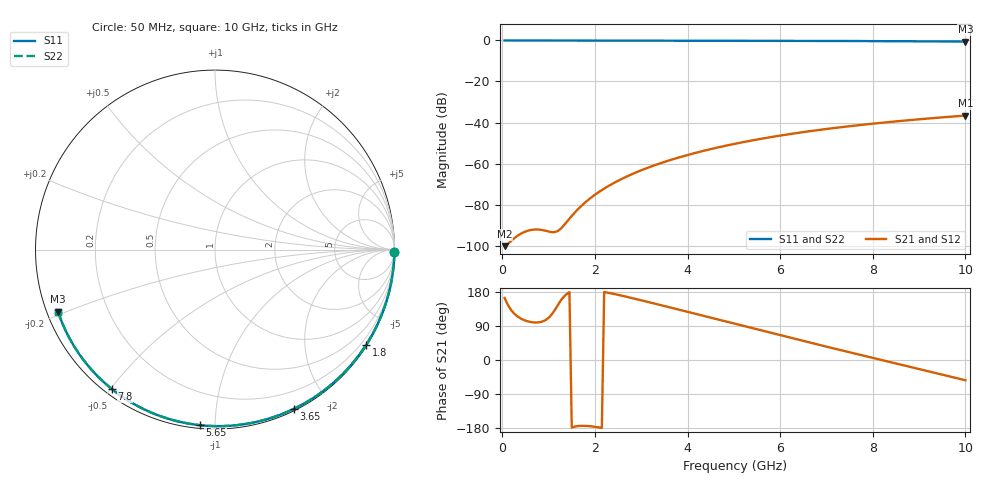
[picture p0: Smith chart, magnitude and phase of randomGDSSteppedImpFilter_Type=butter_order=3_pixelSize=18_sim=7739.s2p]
! freq	dB(S11)	phase(S11)	dB(S12)	phase(S12)
!  dB(S21)	phase(S21)	dB(S22)	phase(S22)
!S-par simulation data
#  GHz  S  DB  R 50
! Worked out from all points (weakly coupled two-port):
!   200 points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, 50 MHz to 10 GHz, reference 50 ohm
!   highest |S21| = -36.62 dB at 10 GHz (marker M1); lowest = -100.3 dB at 50 MHz (marker M2)
!   lowest |S11| = -0.5 dB at 10 GHz (marker M3), VSWR 32.61, Z = 1.59 - j9.49 ohm
!   |S11| at or under -10 dB: nowhere
!   |S22| runs from -0.5 to 0.0 dB; largest |S21 - S12| = 0
!   S11 on the Smith chart (normalised r, x): 50 MHz: open; 1.8 GHz: 0.03, -3.46; 3.65 GHz: 0.02, -1.61; 5.65 GHz: 0.02, -0.92; 7.8 GHz: 0.02, -0.50; 10 GHz: 0.03, -0.19
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0.05  -0.00 -0.9  -100.25 163.7  -100.25 163.7  -0.00 -0.9
0.45  -0.01 -8.2  -93.61 106.4  -93.61 106.4  -0.01 -8.2
0.85  -0.02 -15.4  -92.33 101.0  -92.33 101.0  -0.02 -15.4
1.7  -0.04 -30.5  -80.78 -173.7  -80.78 -173.7  -0.04 -30.5
1.75  -0.04 -31.4  -79.74 -173.7  -79.74 -173.7  -0.04 -31.4
1.8  -0.04 -32.2  -78.74 -173.8  -78.74 -173.8  -0.04 -32.2
1.95  -0.04 -34.8  -76.03 -175.5  -76.03 -175.5  -0.04 -34.8
2.1  -0.05 -37.5  -73.63 -178.2  -73.63 -178.2  -0.05 -37.5
2.3  -0.05 -40.9  -70.83 177.2  -70.83 177.2  -0.05 -40.9
2.5  -0.06 -44.3  -68.37 172.0  -68.37 172.0  -0.06 -44.3
2.9  -0.07 -51.1  -64.19 160.6  -64.19 160.6  -0.07 -51.1
3.4  -0.08 -59.5  -59.95 145.5  -59.95 145.5  -0.08 -59.5
3.65  -0.09 -63.6  -58.13 137.8  -58.13 137.8  -0.09 -63.6
4.3  -0.11 -74.1  -54.05 117.8  -54.05 117.8  -0.11 -74.1
5.05  -0.13 -85.9  -50.23 94.6  -50.23 94.6  -0.13 -85.8
5.65  -0.16 -95.0  -47.68 76.1  -47.68 76.1  -0.16 -95.0
6.15  -0.18 -102.5  -45.83 60.9  -45.83 60.9  -0.18 -102.5
6.7  -0.22 -110.6  -44.03 44.2  -44.03 44.2  -0.22 -110.6
7.8  -0.30 -126.5  -41.03 11.5  -41.03 11.5  -0.30 -126.5
8.35  -0.35 -134.4  -39.76 -4.7  -39.76 -4.7  -0.35 -134.4
9.2  -0.44 -146.7  -38.03 -29.6  -38.03 -29.6  -0.44 -146.7
10  -0.53 -158.5  -36.62 -53.5  -36.62 -53.5  -0.53 -158.5
